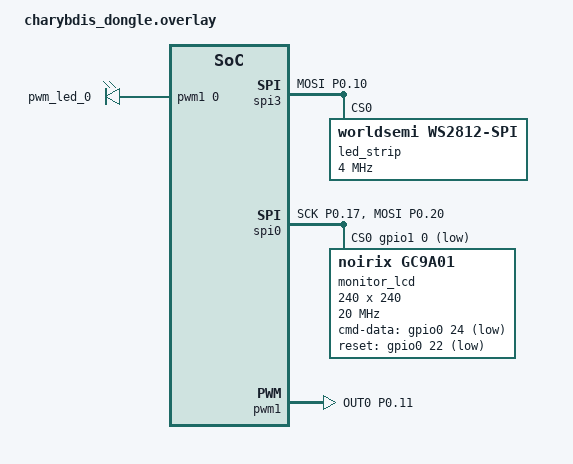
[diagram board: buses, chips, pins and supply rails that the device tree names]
/* SPDX-License-Identifier: MIT */

#include "charybdis.dtsi"

/ {
    chosen {
        zmk,kscan = &dongle_kscan;
        zephyr,display = &monitor_lcd;
        zmk,display-led = &pwm_led_0;
    };

    dongle_kscan: dongle_kscan {
        compatible = "zmk,kscan-mock";
        columns = <0>;
        rows = <0>;
        events = <0>;
    };



    disp_bl: disp_bl {
        compatible = "pwm-leds";
        pwm_led_0: pwm_led_0 {
            pwms = <&pwm1 0 PWM_USEC(20) PWM_POLARITY_NORMAL>;
        };
    };

    /* 接收右半（peripheral reg 0）经 split 转发的轨迹球 input 事件。
     * zip_* 标签由 config/charybdis.keymap 顶部的
     * #include <input/processors.dtsi> 提供。
     * 容器 #size-cells = 0，使 reg 只有 address cell（通道号）。 */
    input_splits {
        #address-cells = <1>;
        #size-cells = <0>;
        input_split_0: input_split@0 {
            compatible = "zmk,input-split";
            reg = <0>;
        };
    };

    /* 与 charybdis_right 原 input-listener 相同的处理链（方向交换 + 层1滚动） */
    trackball_listener {
        compatible = "zmk,input-listener";
        device = <&input_split_0>;
        input-processors = <&zip_xy_swap_mapper>;
        child-binding {
            layers = <1>;
            input-processors = <&zip_xy_swap_mapper &zip_xy_to_scroll_mapper &zip_scroll_scaler 2 1>;
        };
    };
};

/* dongle 无实体键盘矩阵：禁用 kscan0（row/col-gpios 不完整），
 * chosen 已切换为 kscan-mock。 */
&kscan0 {
    status = "disabled";
};

/* charybdis.dtsi 的 chosen 引用 &led_strip；dongle 无实体 RGB，但仍需一个
 * status = "okay" 的 ws2812 节点使驱动自动启用（Zephyr 4.1 由 devicetree
 * 自动开启 WS2812_STRIP_SPI），否则 chosen 指向未实例化设备导致编译失败。
 * MOSI 用 P0.10（与 left/right 一致；dongle 上该引脚无其他外设占用）。 */
&pinctrl {
    spi3_default: spi3_default {
        group1 {
            psels = <NRF_PSEL(SPIM_MOSI, 0, 10)>;
        };
    };

    spi3_sleep: spi3_sleep {
        group1 {
            psels = <NRF_PSEL(SPIM_MOSI, 0, 10)>;
            low-power-enable;
        };
    };
};

&spi3 {
    status = "okay";
    compatible = "nordic,nrf-spim";
    pinctrl-0 = <&spi3_default>;
    pinctrl-1 = <&spi3_sleep>;
    pinctrl-names = "default", "sleep";

    led_strip: ws2812@0 {
        compatible = "worldsemi,ws2812-spi";
        reg = <0>;
        status = "okay";
        spi-max-frequency = <4000000>;
        chain-length = <1>;
        spi-one-frame = <0x70>;
        spi-zero-frame = <0x40>;
        color-mapping = <LED_COLOR_ID_GREEN
                         LED_COLOR_ID_RED
                         LED_COLOR_ID_BLUE>;
    };
};

/*
 * GC9A01 240x240 SPI 圆形屏（1.28 英寸，8 针 VCC GND SCL SDA DC CS RST BL）：
 *   SCK  = P0.17  (SPIM_SCK)
 *   MOSI = P0.20  (SPIM_MOSI)
 *   CS   = P1.00  (cs-gpios)
 *   DC   = P0.24  (cmd-data-gpios)
 *   RST  = P0.22  (reset-gpios)
 *   BL   = P0.11  (pwm1 OUT0，背光)
 *
 * 与 noirix44 gc9a01 monitor 同一接线/驱动（自定义 binding "noirix,gc9a01"）。
 */
&pinctrl {
    monitor_spi0_default: monitor_spi0_default {
        group1 {
            psels = <NRF_PSEL(SPIM_SCK, 0, 17)>,
                    <NRF_PSEL(SPIM_MOSI, 0, 20)>;
        };
    };

    monitor_spi0_sleep: monitor_spi0_sleep {
        group1 {
            psels = <NRF_PSEL(SPIM_SCK, 0, 17)>,
                    <NRF_PSEL(SPIM_MOSI, 0, 20)>;
            low-power-enable;
        };
    };

    monitor_pwm1_default: monitor_pwm1_default {
        group1 {
            psels = <NRF_PSEL(PWM_OUT0, 0, 11)>;
        };
    };

    monitor_pwm1_sleep: monitor_pwm1_sleep {
        group1 {
            psels = <NRF_PSEL(PWM_OUT0, 0, 11)>;
            low-power-enable;
        };
    };
};

&spi0 {
    status = "okay";
    compatible = "nordic,nrf-spim";
    pinctrl-0 = <&monitor_spi0_default>;
    pinctrl-1 = <&monitor_spi0_sleep>;
    pinctrl-names = "default", "sleep";
    cs-gpios = <&gpio1 0 GPIO_ACTIVE_LOW>;

    monitor_lcd: gc9a01@0 {
        compatible = "noirix,gc9a01";
        spi-max-frequency = <20000000>;
        reg = <0>;
        cmd-data-gpios = <&gpio0 24 GPIO_ACTIVE_LOW>;
        reset-gpios = <&gpio0 22 GPIO_ACTIVE_LOW>;
        width = <240>;
        height = <240>;
        x-offset = <0>;
        y-offset = <0>;
        mdac = <0x08>;
        colmod = <0x55>;
        display-inversion;
        pwrctrl1 = [00];
        pwrctrl2 = [13];
        pwrctrl3 = [13];
        pwrctrl4 = [22];
        gamma1 = [45 09 08 08 26 2A];
        gamma2 = [43 70 72 36 37 6F];
        gamma3 = [45 09 08 08 26 2A];
        gamma4 = [43 70 72 36 37 6F];
        framerate = [34];
    };
};

&pwm1 {
    status = "okay";
    pinctrl-0 = <&monitor_pwm1_default>;
    pinctrl-1 = <&monitor_pwm1_sleep>;
    pinctrl-names = "default", "sleep";
};

/* dtsi 的 physical_layout_0 默认 kscan = <&kscan0>（matrix，已被 disabled）。
 * dongle 无本地键盘，改指向 mock kscan，保证 physical-layout 引用的是
 * 已实例化的设备（否则 __device_dts_ord_* 缺失导致编译失败）。 */
&physical_layout_0 {
    kscan = <&dongle_kscan>;
};
